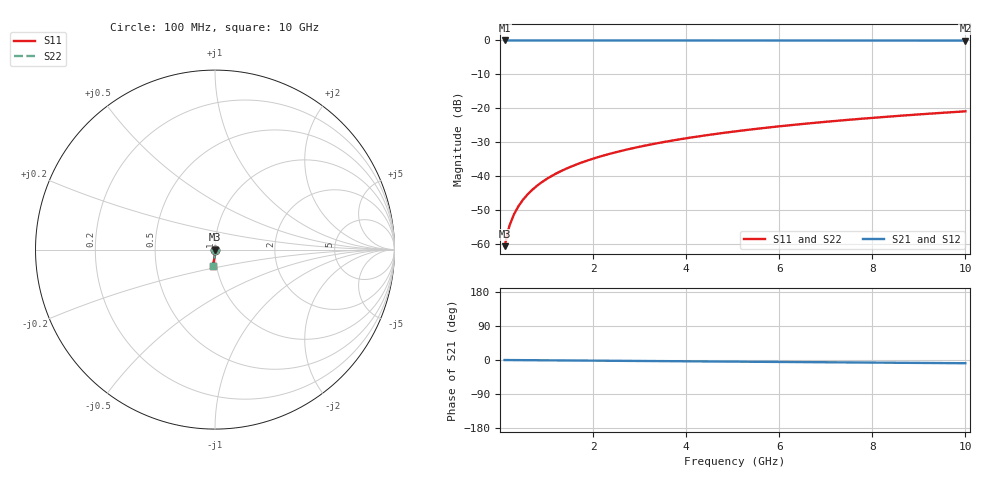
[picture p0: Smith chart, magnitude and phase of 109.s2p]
# Hz S RI R 50.00
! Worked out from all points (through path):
!   100 points, 100 MHz to 10 GHz, reference 50 ohm
!   highest |S21| = 0.00 dB at 100 MHz (marker M1); lowest = 0.0 dB at 10 GHz (marker M2)
!   group delay of S21, straight-line fit = 2.37 ps
!   lowest |S11| = -60.8 dB at 100 MHz (marker M3), VSWR 1.00, Z = 50 - j0.0897 ohm
!   |S11| at or under -10 dB: start of sweep to end of sweep
!   |S22| runs from -60.8 to -20.9 dB; largest |S21 - S12| = 0
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1e8  0.000184 -0.000896  0.9998 -0.00148  0.9998 -0.00148  0.000184 -0.000896
2e8  0.00018 -0.00179  0.9998 -0.00296  0.9998 -0.00296  0.00018 -0.00179
3e8  0.000173 -0.00269  0.9998 -0.00445  0.9998 -0.00445  0.000173 -0.00269
4e8  0.000163 -0.00359  0.9998 -0.00593  0.9998 -0.00593  0.000163 -0.00359
5e8  0.000151 -0.00448  0.9998 -0.00741  0.9998 -0.00741  0.000151 -0.00448
6e8  0.000136 -0.00538  0.9997 -0.00889  0.9997 -0.00889  0.000136 -0.00538
7e8  0.000118 -0.00627  0.9997 -0.0104  0.9997 -0.0104  0.000118 -0.00627
8e8  9.73e-05 -0.00717  0.9997 -0.0119  0.9997 -0.0119  9.73e-05 -0.00717
9e8  7.4e-05 -0.00807  0.9997 -0.0133  0.9997 -0.0133  7.4e-05 -0.00807
1.1e9  1.94e-05 -0.00986  0.9996 -0.0163  0.9996 -0.0163  1.94e-05 -0.00986
1.4e9  -8.27e-05 -0.0125  0.9995 -0.0208  0.9995 -0.0208  -8.27e-05 -0.0125
1.8e9  -0.000256 -0.0161  0.9993 -0.0267  0.9993 -0.0267  -0.000256 -0.0161
2.1e9  -0.000414 -0.0188  0.9991 -0.0311  0.9991 -0.0311  -0.000414 -0.0188
2.5e9  -0.000663 -0.0224  0.9988 -0.0371  0.9988 -0.0371  -0.000663 -0.0224
2.9e9  -0.000954 -0.026  0.9985 -0.043  0.9985 -0.043  -0.000954 -0.026
3.4e9  -0.00138 -0.0305  0.998 -0.0504  0.998 -0.0504  -0.00138 -0.0305
4.2e9  -0.00219 -0.0376  0.9971 -0.0623  0.9971 -0.0623  -0.00219 -0.0376
5.1e9  -0.00332 -0.0457  0.9958 -0.0756  0.9958 -0.0756  -0.00332 -0.0457
5.9e9  -0.0045 -0.0528  0.9945 -0.0874  0.9945 -0.0874  -0.0045 -0.0528
6.7e9  -0.00585 -0.0599  0.993 -0.0992  0.993 -0.0992  -0.00585 -0.0599
8.4e9  -0.00928 -0.0748  0.9891 -0.1243  0.9891 -0.1243  -0.00928 -0.0748
1e10  -0.0132 -0.0888  0.9846 -0.1477  0.9846 -0.1477  -0.0132 -0.0888
